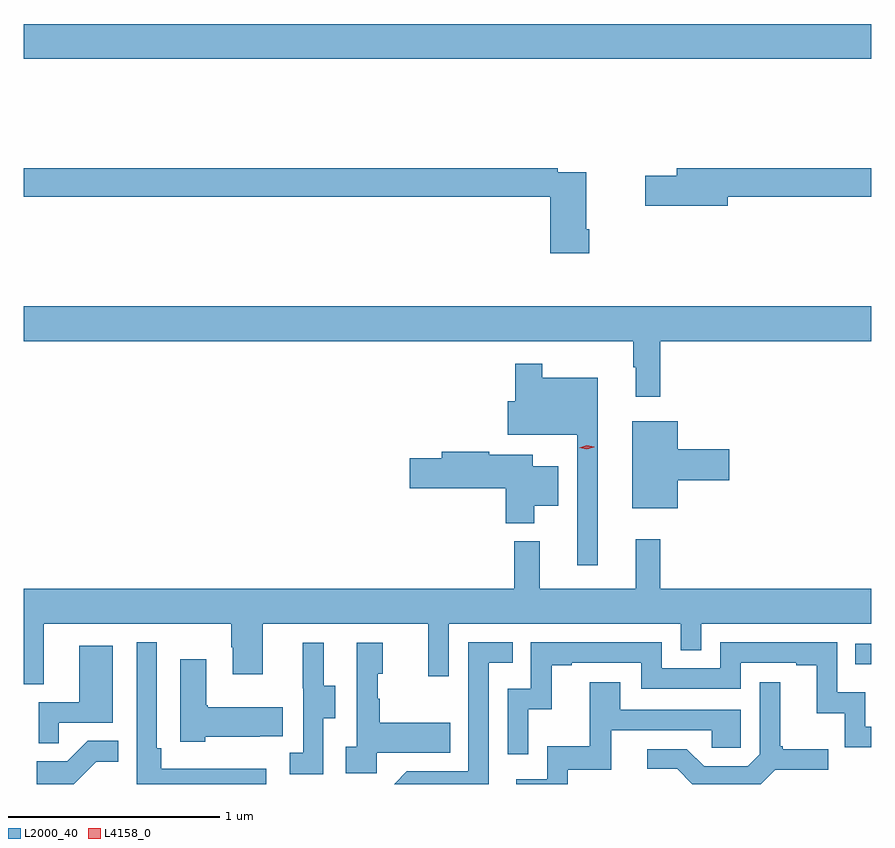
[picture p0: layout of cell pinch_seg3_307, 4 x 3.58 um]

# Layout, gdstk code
import gdstk
lib = gdstk.Library(unit=1e-6, precision=1e-09)
def R(c, l, rs):  # rectangles x0, y0, x1, y1
    for r in rs: c.add(gdstk.rectangle(r[:2], r[2:], *l))
def P(c, l, *ps):  # polygons
    for p in ps: c.add(gdstk.Polygon(p, *l))
L2000_40 = (2000, 40)
L4158_0 = (4158, 0)

pinch_seg3_307 = lib.new_cell('pinch_seg3_307')
R(pinch_seg3_307, L2000_40, [(975.073,707.384,975.149,707.481), (971.149,710.24,975.149,710.404)])
P(pinch_seg3_307, L2000_40, [(973.817,709.435),(973.804,709.435),(973.804,709.704),(973.67,709.704),(973.67,709.724),(971.149,709.724),(971.149,709.588),(973.634,709.588),(973.634,709.323),(973.817,709.323)],
  [(974.47,709.588),(975.149,709.588),(975.149,709.724),(974.231,709.724),(974.231,709.688),(974.082,709.688),(974.082,709.546),(974.47,709.546)],
  [(974.153,708.908),(975.149,708.908),(975.149,709.072),(971.149,709.072),(971.149,708.908),(974.025,708.908),(974.025,708.785),(974.036,708.785),(974.036,708.645),(974.153,708.645)],
  [(973.858,708.736),(973.597,708.736),(973.597,708.802),(973.468,708.802),(973.468,708.625),(973.434,708.625),(973.434,708.467),(973.761,708.467),(973.761,707.85),(973.858,707.85)],
  [(974.236,708.251),(974.479,708.251),(974.479,708.398),(974.236,708.398),(974.236,708.529),(974.021,708.529),(974.021,708.119),(974.236,708.119)],
  [(973.558,708.131),(973.672,708.131),(973.672,708.319),(973.552,708.319),(973.552,708.373),(973.346,708.373),(973.346,708.386),(973.121,708.386),(973.121,708.356),(972.972,708.356),(972.972,708.214),(973.424,708.214),(973.424,708.05),(973.558,708.05)],
  [(971.245,707.576),(972.13,707.576),(972.13,707.465),(972.137,707.465),(972.137,707.337),(972.277,707.337),(972.277,707.576),(973.058,707.576),(973.058,707.328),(973.155,707.328),(973.155,707.576),(974.25,707.576),(974.25,707.449),(974.346,707.449),(974.346,707.576),(975.149,707.576),(975.149,707.74),(974.153,707.74),(974.153,707.974),(974.036,707.974),(974.036,707.74),(973.583,707.74),(973.583,707.965),(973.465,707.965),(973.465,707.74),(971.149,707.74),(971.149,707.29),(971.245,707.29)],
  [(972.294,706.89),(971.798,706.89),(971.798,706.987),(971.778,706.987),(971.778,707.488),(971.682,707.488),(971.682,706.819),(972.294,706.819)],
  [(973.53,707.171),(973.64,707.171),(973.64,707.379),(973.735,707.379),(973.735,707.391),(974.064,707.391),(974.064,707.268),(974.532,707.268),(974.532,707.391),(974.795,707.391),(974.795,707.379),(974.891,707.379),(974.891,707.153),(975.024,707.153),(975.024,706.992),(975.149,706.992),(975.149,707.088),(975.12,707.088),(975.12,707.251),(974.988,707.251),(974.988,707.487),(974.436,707.487),(974.436,707.364),(974.16,707.364),(974.16,707.487),(973.542,707.487),(973.542,707.268),(973.434,707.268),(973.434,706.959),(973.53,706.959)],
  [(973.344,707.391),(973.457,707.391),(973.457,707.487),(973.248,707.487),(973.248,706.878),(972.957,706.878),(972.898,706.819),(973.344,706.819)],
  [(972.564,707.128),(972.619,707.128),(972.619,707.283),(972.565,707.283),(972.565,707.485),(972.467,707.485),(972.467,707.271),(972.468,707.271),(972.468,706.967),(972.405,706.967),(972.405,706.864),(972.564,706.864)],
  [(972.816,706.967),(973.163,706.967),(973.163,707.107),(972.829,707.107),(972.829,707.222),(972.819,707.222),(972.819,707.34),(972.844,707.34),(972.844,707.485),(972.72,707.485),(972.72,706.994),(972.669,706.994),(972.669,706.869),(972.816,706.869)],
  [(971.315,707.109),(971.569,707.109),(971.569,707.47),(971.411,707.47),(971.411,707.205),(971.22,707.205),(971.22,707.011),(971.315,707.011)],
  [(972.006,707.042),(972.263,707.042),(972.263,707.045),(972.371,707.045),(972.371,707.182),(972.018,707.182),(972.018,707.19),(972.01,707.19),(972.01,707.407),(971.888,707.407),(971.888,707.018),(972.006,707.018)],
  [(974.694,706.887),(974.944,706.887),(974.944,706.984),(974.731,706.984),(974.731,706.996),(974.719,706.996),(974.719,707.299),(974.622,707.299),(974.622,706.959),(974.565,706.902),(974.359,706.902),(974.278,706.983),(974.091,706.983),(974.091,706.89),(974.232,706.89),(974.303,706.819),(974.626,706.819)],
  [(973.716,706.887),(973.921,706.887),(973.921,707.073),(974.395,707.073),(974.395,706.989),(974.532,706.989),(974.532,707.169),(973.963,707.169),(973.963,707.299),(973.819,707.299),(973.819,706.996),(973.62,706.996),(973.62,706.842),(973.473,706.842),(973.473,706.819),(973.716,706.819)],
  [(971.493,706.925),(971.597,706.925),(971.597,707.024),(971.453,707.024),(971.355,706.926),(971.211,706.926),(971.211,706.819),(971.387,706.819)])
P(pinch_seg3_307, L4158_0, [(973.807,708.397),(973.771,708.406),(973.771,708.406),(973.771,708.406),(973.806,708.417),(973.842,708.409),(973.842,708.409),(973.842,708.408)])

lib.write_gds('pinch_seg3_307.gds')
